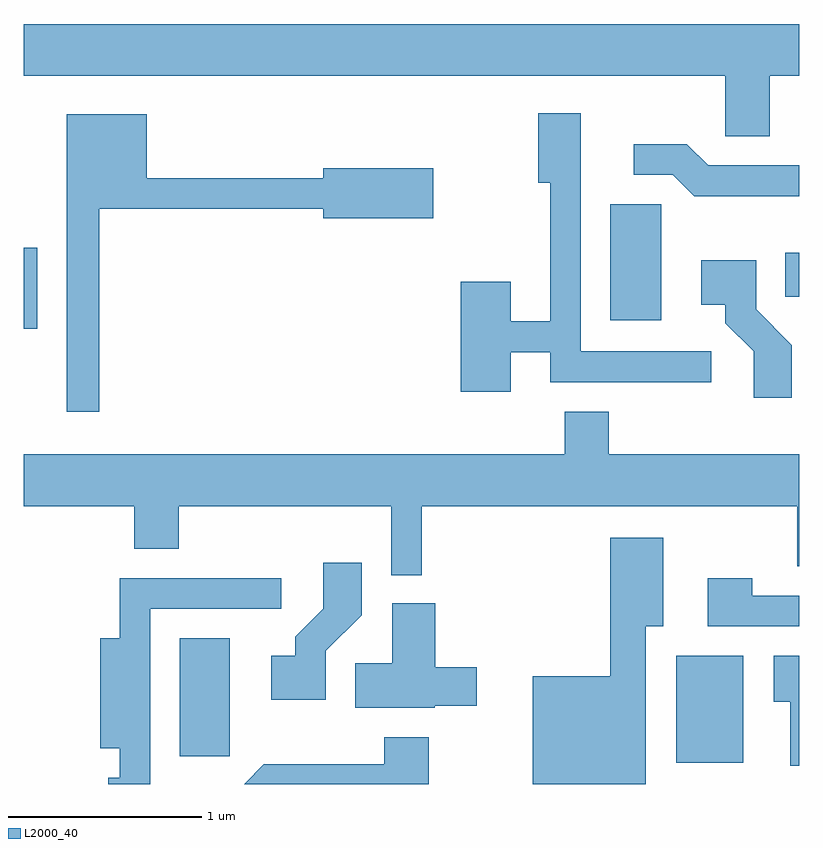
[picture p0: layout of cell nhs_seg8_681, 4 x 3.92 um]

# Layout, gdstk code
import gdstk
lib = gdstk.Library(unit=1e-6, precision=1e-09)
def R(c, l, rs):  # rectangles x0, y0, x1, y1
    for r in rs: c.add(gdstk.rectangle(r[:2], r[2:], *l))
def P(c, l, *ps):  # polygons
    for p in ps: c.add(gdstk.Polygon(p, *l))
L2000_40 = (2000, 40)

nhs_seg8_681 = lib.new_cell('nhs_seg8_681')
R(nhs_seg8_681, L2000_40, [(208.976,1808.451,209.324,1809.004), (206.416,1808.486,206.674,1809.094), (205.611,1810.691,205.679,1811.109), (208.636,1810.736,208.899,1811.334), (209.541,1810.856,209.611,1811.084)])
P(nhs_seg8_681, L2000_40, [(209.459,1811.996),(209.611,1811.996),(209.611,1812.264),(205.611,1812.264),(205.611,1811.996),(209.231,1811.996),(209.231,1811.686),(209.459,1811.686)],
  [(208.124,1810.571),(208.326,1810.571),(208.326,1810.416),(209.158,1810.416),(209.158,1810.574),(208.484,1810.574),(208.484,1811.804),(208.266,1811.804),(208.266,1811.446),(208.326,1811.446),(208.326,1810.729),(208.124,1810.729),(208.124,1810.934),(207.866,1810.934),(207.866,1810.366),(208.124,1810.366)],
  [(205.999,1811.311),(207.156,1811.311),(207.156,1811.261),(207.724,1811.261),(207.724,1811.519),(207.156,1811.519),(207.156,1811.469),(206.244,1811.469),(206.244,1811.799),(205.831,1811.799),(205.831,1810.263),(205.999,1810.263)],
  [(209.611,1811.534),(209.142,1811.534),(209.032,1811.644),(208.758,1811.644),(208.758,1811.486),(208.959,1811.486),(209.069,1811.376),(209.611,1811.376)],
  [(209.574,1810.607),(209.389,1810.792),(209.389,1811.044),(209.106,1811.044),(209.106,1810.816),(209.231,1810.816),(209.231,1810.719),(209.376,1810.574),(209.376,1810.336),(209.574,1810.336)],
  [(207.664,1809.776),(209.601,1809.776),(209.601,1809.466),(209.611,1809.466),(209.611,1810.044),(208.629,1810.044),(208.629,1810.264),(208.401,1810.264),(208.401,1810.044),(205.611,1810.044),(205.611,1809.776),(206.181,1809.776),(206.181,1809.556),(206.409,1809.556),(206.409,1809.776),(207.506,1809.776),(207.506,1809.418),(207.664,1809.418)],
  [(208.819,1809.156),(208.909,1809.156),(208.909,1809.614),(208.636,1809.614),(208.636,1808.899),(208.236,1808.899),(208.236,1808.342),(208.819,1808.342)],
  [(207.169,1809.029),(207.354,1809.214),(207.354,1809.484),(207.156,1809.484),(207.156,1809.247),(207.011,1809.102),(207.011,1809.004),(206.886,1809.004),(206.886,1808.776),(207.169,1808.776)],
  [(206.264,1809.246),(206.938,1809.246),(206.938,1809.404),(206.106,1809.404),(206.106,1809.094),(206.006,1809.094),(206.006,1808.526),(206.106,1808.526),(206.106,1808.374),(206.046,1808.374),(206.046,1808.342),(206.264,1808.342)],
  [(209.611,1809.314),(209.369,1809.314),(209.369,1809.404),(209.141,1809.404),(209.141,1809.156),(209.611,1809.156)],
  [(207.73,1808.746),(207.949,1808.746),(207.949,1808.944),(207.734,1808.944),(207.734,1809.274),(207.511,1809.274),(207.511,1808.964),(207.321,1808.964),(207.321,1808.736),(207.73,1808.736)],
  [(209.611,1809.004),(209.481,1809.004),(209.481,1808.766),(209.566,1808.766),(209.566,1808.436),(209.611,1808.436)],
  [(207.699,1808.584),(207.471,1808.584),(207.471,1808.444),(206.849,1808.444),(206.747,1808.342),(207.699,1808.342)])

lib.write_gds('nhs_seg8_681.gds')
